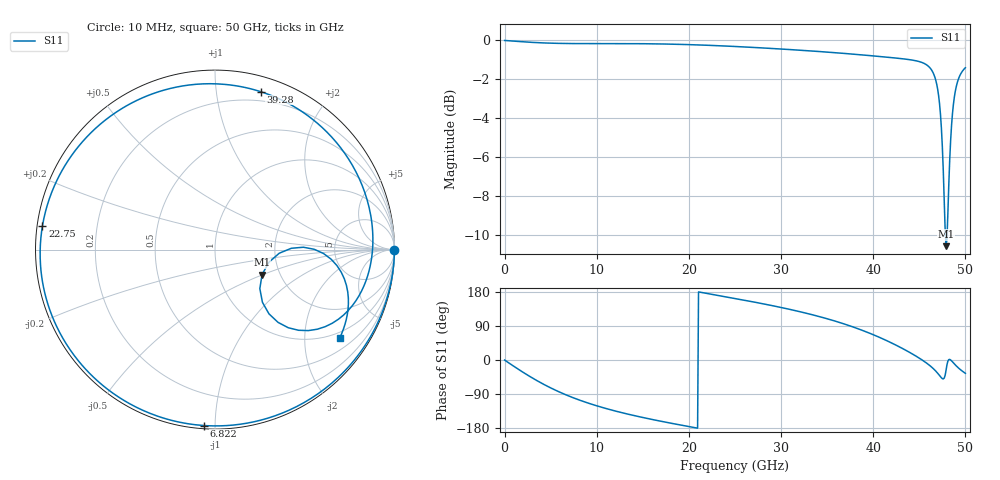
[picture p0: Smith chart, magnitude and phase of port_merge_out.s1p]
! Created with skrf (http://scikit-rf.org).
# GHz S RI R 50.0
!freq ReS11 ImS11
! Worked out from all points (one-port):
!   500 points, 10 MHz to 50 GHz, reference 50 ohm
!   lowest |S11| = -10.5 dB at 47.9 GHz (marker M1), VSWR 1.84, Z = 80.9 - j24.7 ohm
!   |S11| at or under -10 dB: 47.83859 GHz to 48.0126 GHz (174 MHz wide, 0.363 % of centre)
!   S11 on the Smith chart (normalised r, x): 10 MHz: open; 6.822 GHz: 0.02, -0.94; 22.75 GHz: 0.02, +0.07; 39.28 GHz: 0.12, +1.32; 50 GHz: 0.82, -2.94
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0.01  1 -0.00301
1.412525  0.915 -0.3896
3.215771  0.6324 -0.7591
4.718477  0.3352 -0.9257
6.321363  0.0276 -0.9821
6.822265  -0.0604 -0.9802
9.527134  -0.4497 -0.8725
12.53255  -0.7273 -0.6592
15.53796  -0.8853 -0.4218
18.84391  -0.9638 -0.1624
22.75094  -0.9615 0.131
25.05509  -0.9182 0.2966
31.26627  -0.6317 0.7051
34.47204  -0.3573 0.8646
37.57764  0.0131 0.9232
39.2807  0.2541 0.8801
41.58485  0.5855 0.6908
43.78882  0.8271 0.339
44.99098  0.8794 0.0771
45.89261  0.8493 -0.1498
46.59387  0.7432 -0.3381
47.09477  0.5697 -0.4437
47.49549  0.3513 -0.4055
47.89621  0.2621 -0.1394
48.29693  0.4922 0.0132
48.79784  0.7034 -0.1259
49.29874  0.7432 -0.3026
50  0.6955 -0.4909
